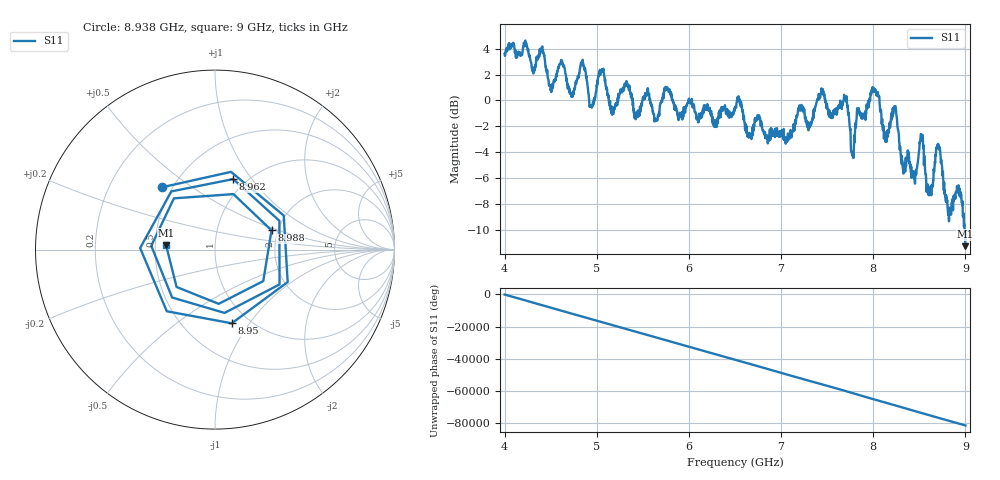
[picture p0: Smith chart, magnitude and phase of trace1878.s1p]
! Created with skrf 1.8.0 (http://scikit-rf.org).
# Hz S RI R 50.0
!freq ReS11 ImS11
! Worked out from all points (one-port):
!   1601 points, 4 GHz to 9 GHz, reference 50 ohm
!   lowest |S11| = -11.3 dB at 9 GHz (marker M1), VSWR 1.75, Z = 28.6 + j1.51 ohm
!   |S11| at or under -10 dB: 8.991794 GHz to end of sweep
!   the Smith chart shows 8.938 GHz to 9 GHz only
!   S11 on the Smith chart (normalised r, x): 8.938 GHz: 0.44, +0.39; 8.95 GHz: 0.83, -0.83; 8.962 GHz: 0.87, +0.82; 8.988 GHz: 1.85, +0.45; 9 GHz: 0.57, +0.03
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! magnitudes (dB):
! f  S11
! 4 GHz  3.6
! 4.406 GHz  4.1
! 4.503 GHz  0.9
! 4.625 GHz  2.8
! 4.728 GHz  0.4
! 4.853 GHz  2.8
! 4.941 GHz  -0.4
! 5.05 GHz  2.4
! 5.159 GHz  -1.0
! 5.25 GHz  0.5
! 5.875 GHz  -1.1
! 6.5 GHz  -0.5
! 7.125 GHz  -2.4
! 7.444 GHz  0.7
! 7.697 GHz  0.3
! 7.75 GHz  -2.3
! 8.006 GHz  1.0
! 8.375 GHz  -3.9
! 8.45 GHz  -6.0
! 8.522 GHz  -2.7
! 8.619 GHz  -7.3
! 8.706 GHz  -3.5
! 8.819 GHz  -8.6
! 8.938 GHz  -6.8
! 8.95 GHz  -7.5
! 8.962 GHz  -7.8
! 8.988 GHz  -9.6
! 9 GHz  -11.3
